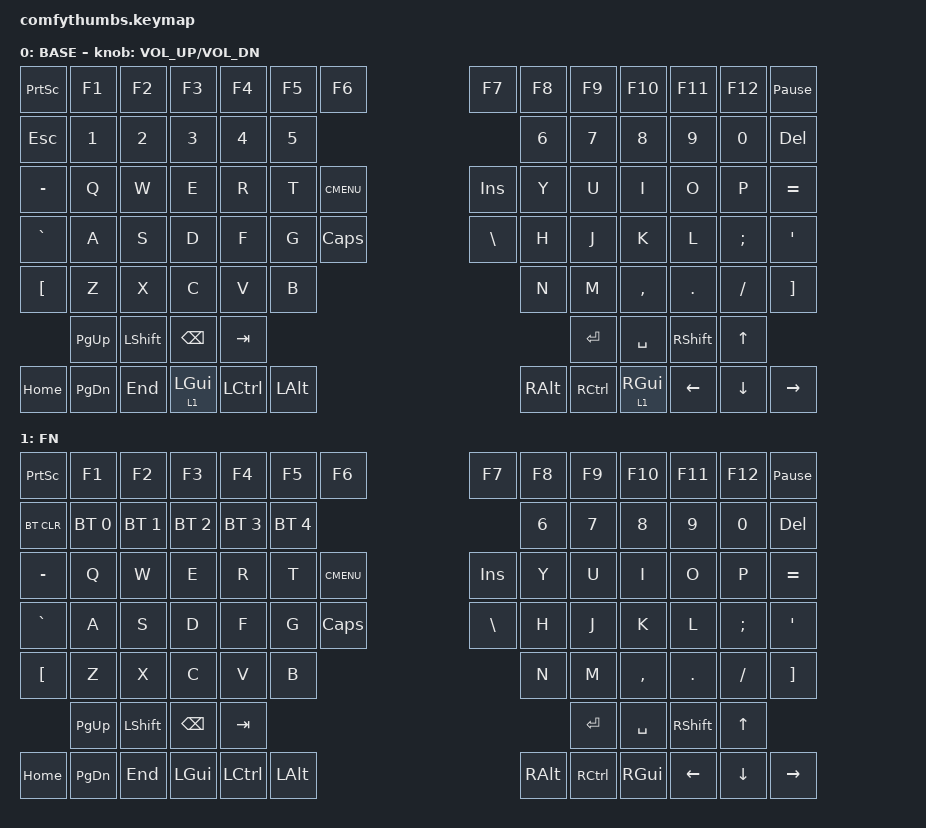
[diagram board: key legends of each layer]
/*
*
* Copyright (c) 2021 Malakai King
* SPDX-License-Identifier: MIT
*
*/

#include <behaviors.dtsi>
#include <dt-bindings/zmk/keys.h>
#include <dt-bindings/zmk/bt.h>

/ {
        keymap {
                compatible = "zmk,keymap";
                default_layer {
                        label = "BASE";
// -----------------------------------------------------------------------------------------
// |  TAB |  Q  |  W  |  E  |  R  |  T  |   |  Y  |  U   |  I  |  O  |  P  | BKSP |
// | SHFT |  A  |  S  |  D  |  F  |  G  |   |  H  |  J   |  K  |  L  |  ;  |  '   |
// | CTRL |  Z  |  X  |  C  |  V  |  B  |   |  N  |  M   |  ,  |  .  |  /  | SHFT |
//                    | GUI | LWR | ENT |   | SPC | RSE  | ALT |
                        bindings = <
   &kp PSCRN &kp F1 &kp F2 &kp F3 &kp F4  &kp F5 &kp F6        &kp F7   &kp F8  &kp F9 &kp F10  &kp F11 &kp F12  &kp PAUSE_BREAK 
   &kp ESC   &kp N1 &kp N2 &kp N3 &kp N4  &kp N5                        &kp N6  &kp N7 &kp N8   &kp N9  &kp N0   &kp DEL
   &kp MINUS &kp Q  &kp W  &kp E  &kp R    &kp T  &kp K_CMENU   &kp INS  &kp Y   &kp U  &kp I    &kp O   &kp P    &kp EQUAL
   &kp GRAVE &kp A  &kp S  &kp D  &kp F    &kp G  &kp CAPS      &kp BSLH &kp H   &kp J  &kp K    &kp L   &kp SCLN &kp SQT
   &kp LBKT  &kp Z  &kp X  &kp C  &kp V    &kp B                         &kp N   &kp M  &kp CMMA &kp DOT &kp FSLH &kp RBKT
             &kp PG_UP         &kp LSHFT   &kp BSPC  &kp TAB   &kp RET &kp SPC    &kp RSHFT              &kp UP
   &kp HOME  &kp PG_DN &kp END &lt 1 LGUI &kp LCTRL &kp LALT  &kp RALT &kp RCTRL &lt 1 RGUI   &kp LEFT &kp DOWN &kp RIGHT
                        >;
            		sensor-bindings = <&inc_dec_kp C_VOL_UP C_VOL_DN>;
                };
                lower_layer {
                        label = "FN";
// -----------------------------------------------------------------------------------------
// |  ESC |  1  |  2  |  3  |  4  |  5  |   |  6  |  7  |  8  |  9  |  0  | BKSP |
// | BTCLR| BT1 | BT2 | BT3 | BT4 | BT5 |   | LFT | DWN |  UP | RGT |     |      |
// | SHFT |     |     |     |     |     |   |     |     |     |     |     |      |
//                    | GUI |     | ENT |   | SPC |     | ALT |
                        bindings = <
   &kp PSCRN &kp F1 &kp F2 &kp F3 &kp F4  &kp F5 &kp F6                          &kp F7   &kp F8 &kp F9 &kp F10  &kp F11 &kp F12  &kp PAUSE_BREAK 
   &bt BT_CLR &bt BT_SEL 0 &bt BT_SEL 1 &bt BT_SEL 2 &bt BT_SEL 3  &bt BT_SEL 4            &kp N6 &kp N7 &kp N8   &kp N9  &kp N0   &kp DEL
   &kp MINUS &kp Q  &kp W  &kp E  &kp R   &kp T  &kp K_CMENU                     &kp INS  &kp Y  &kp U  &kp I    &kp O   &kp P    &kp EQUAL
   &kp GRAVE &kp A  &kp S  &kp D  &kp F   &kp G  &kp CAPS                        &kp BSLH &kp H  &kp J  &kp K    &kp L   &kp SCLN &kp SQT
   &kp LBKT  &kp Z  &kp X  &kp C  &kp V   &kp B                                           &kp N  &kp M  &kp CMMA &kp DOT &kp FSLH &kp RBKT
             &kp PG_UP         &kp LSHFT  &kp BSPC  &kp TAB                     &kp RET &kp SPC   &kp RSHFT              &kp UP
   &kp HOME  &kp PG_DN &kp END &kp LGUI   &kp LCTRL &kp LALT                    &kp RALT &kp RCTRL &kp RGUI     &kp LEFT &kp DOWN &kp RIGHT 
                        >;
                };
        };
};
